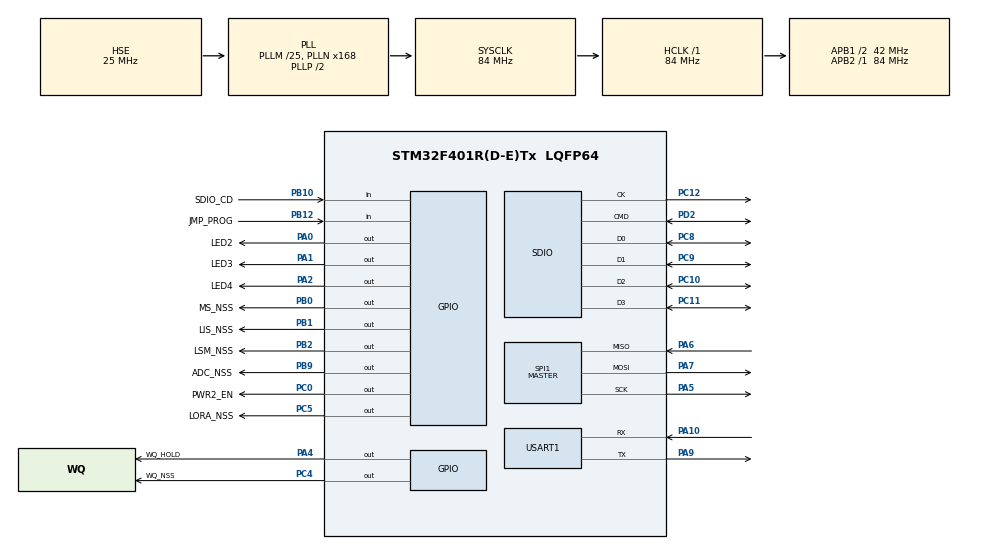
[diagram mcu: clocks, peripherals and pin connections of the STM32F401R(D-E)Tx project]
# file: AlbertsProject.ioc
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Mcu.Family=STM32F4
Mcu.Name=STM32F401R(D-E)Tx
Mcu.Package=LQFP64
NVIC.PriorityGroup=NVIC_PRIORITYGROUP_4
PA0-WKUP.GPIO_Label=LED2
PA0-WKUP.Signal=GPIO_Output
PA1.GPIO_Label=LED3
PA1.Signal=GPIO_Output
PA10.Mode=Asynchronous
PA10.Signal=USART1_RX
PA13.Mode=Serial_Wire
PA13.Signal=SYS_JTMS-SWDIO
PA14.Mode=Serial_Wire
PA14.Signal=SYS_JTCK-SWCLK
PA2.GPIO_Label=LED4
PA2.Signal=GPIO_Output
PA4.GPIO_Label=WQ_HOLD
PA4.PinState=GPIO_PIN_SET
PA4.Signal=GPIO_Output
PA5.Mode=Full_Duplex_Master
PA5.Signal=SPI1_SCK
PA6.Mode=Full_Duplex_Master
PA6.Signal=SPI1_MISO
PA7.Mode=Full_Duplex_Master
PA7.Signal=SPI1_MOSI
PA9.Mode=Asynchronous
PA9.Signal=USART1_TX
PB0.GPIO_Label=MS_NSS
PB0.PinState=GPIO_PIN_SET
PB0.Signal=GPIO_Output
PB1.GPIO_Label=LIS_NSS
PB1.PinState=GPIO_PIN_SET
PB1.Signal=GPIO_Output
PB10.GPIO_Label=SDIO_CD
PB10.Signal=GPIO_Input
PB12.GPIO_Label=JMP_PROG
PB12.Signal=GPIO_Input
PB2.GPIO_Label=LSM_NSS
PB2.PinState=GPIO_PIN_SET
PB2.Signal=GPIO_Output
PB9.GPIO_Label=ADC_NSS
PB9.PinState=GPIO_PIN_SET
PB9.Signal=GPIO_Output
PC0.GPIO_Label=PWR2_EN
PC0.PinState=GPIO_PIN_SET
PC0.Signal=GPIO_Output
PC10.Mode=SD_4_bits_Wide_bus
PC10.Signal=SDIO_D2
PC11.Mode=SD_4_bits_Wide_bus
PC11.Signal=SDIO_D3
PC12.Mode=SD_4_bits_Wide_bus
PC12.Signal=SDIO_CK
PC14-OSC32_IN.Mode=LSE-External-Oscillator
PC14-OSC32_IN.Signal=RCC_OSC32_IN
PC15-OSC32_OUT.Mode=LSE-External-Oscillator
PC15-OSC32_OUT.Signal=RCC_OSC32_OUT
PC4.GPIO_Label=WQ_NSS
PC4.PinState=GPIO_PIN_SET
PC4.Signal=GPIO_Output
PC5.GPIO_Label=LORA_NSS
PC5.PinState=GPIO_PIN_SET
PC5.Signal=GPIO_Output
PC8.Mode=SD_4_bits_Wide_bus
PC8.Signal=SDIO_D0
PC9.Mode=SD_4_bits_Wide_bus
PC9.Signal=SDIO_D1
PD2.Mode=SD_4_bits_Wide_bus
PD2.Signal=SDIO_CMD
PH0\ -\ OSC_IN.Mode=HSE-External-Oscillator
PH0\ -\ OSC_IN.Signal=RCC_OSC_IN
PH1\ -\ OSC_OUT.Mode=HSE-External-Oscillator
PH1\ -\ OSC_OUT.Signal=RCC_OSC_OUT
ProjectManager.HeapSize=0x200
ProjectManager.StackSize=0x400
ProjectManager.TargetToolchain=STM32CubeIDE
RCC.48MHZClocksFreq_Value=42000000
RCC.AHBFreq_Value=84000000
RCC.APB1CLKDivider=RCC_HCLK_DIV2
RCC.APB1Freq_Value=42000000
RCC.APB1TimFreq_Value=84000000
RCC.APB2Freq_Value=84000000
RCC.APB2TimFreq_Value=84000000
RCC.CortexFreq_Value=84000000
RCC.HCLKFreq_Value=84000000
RCC.HSE_VALUE=25000000
RCC.HSI_VALUE=16000000
RCC.PLLM=25
RCC.PLLN=168
RCC.PLLSourceVirtual=RCC_PLLSOURCE_HSE
RCC.SYSCLKFreq_VALUE=84000000
RCC.SYSCLKSource=RCC_SYSCLKSOURCE_PLLCLK
RCC.VCOOutputFreq_Value=168000000
SPI1.Direction=SPI_DIRECTION_2LINES
SPI1.Mode=SPI_MODE_MASTER
SPI1.VirtualType=VM_MASTER
USART1.VirtualMode=VM_ASYNC
VP_FATFS_VS_SDIO.Mode=SDIO
board=custom

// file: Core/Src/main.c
/* USER CODE BEGIN Header */
/**
 ******************************************************************************
 * @file           : main.c
 * @brief          : Main program body
 ******************************************************************************
 * @attention
 *
 * Copyright (c) 2024 STMicroelectronics.
 * All rights reserved.
 *
 * This software is licensed under terms that can be found in the LICENSE file
 * in the root directory of this software component.
 * If no LICENSE file comes with this software, it is provided AS-IS.
 *
 ******************************************************************************
 */
/* USER CODE END Header */
#include "main.h"
#include "fatfs.h"
#include "sdio.h"
#include "spi.h"
#include "usart.h"
#include "gpio.h"

/* USER CODE BEGIN Includes */
#include <stdio.h>
#include <stdbool.h>

#include "myLoRa.h"
#include "accelGyro.h"
#include "pressTemp.h"

//#include "usart.h"
/* USER CODE END Includes */

/* USER CODE BEGIN PD */
#define PACKET_SIZE sizeof(RadioData_t)

#define ROVERDATA_SIZE sizeof(RoverData_t)

/* USER CODE END PD */

/* USER CODE BEGIN PV */
uint32_t MS_Data[2];
int16_t LSM_Data[6];

int sizeOfBufferToLora = 100;
int32_t seaLvlPress;
int32_t beforAlt;
uint8_t toStart = 100;
uint32_t timeToSend = 0;
uint32_t timeToWrite = 0;
uint16_t roverFreq = 434; // !!!!!!!!---- YZNAT' CHASTOTY ----!!!!!!!!
const char filename[] = "SULOG.txt";

struct {
	uint32_t time;
	int32_t alt;
	int32_t press;
	int16_t temp;
	int16_t accel1;
	int16_t accel2;
	int16_t accel3;
	int16_t gyro1;
	int16_t gyro2;
	int16_t gyro3;
	bool flagStart;
	bool flagApag;
	bool flagLand;

} SensorsData;

#pragma pack(push, 1)
typedef struct {
	uint16_t start_of_packet; // 0xAAAA
	uint16_t team_id;
	uint32_t time;
	int16_t temperature;
	int32_t pressure;
	int16_t accelerometer_x;
	int16_t accelerometer_y;
	int16_t accelerometer_z;
	int16_t gyroscope_x;
	int16_t gyroscope_y;
	int16_t gyroscope_z;
	uint8_t checksum;

	uint8_t answer;
	uint16_t distanses[17];

} RadioData_t;
#pragma pack(pop)

#pragma pack(push, 1)
typedef struct {
	uint8_t start_of_the_pocket; // должен быть 0x13
	uint8_t answer;
	uint16_t distanses[17];
	uint8_t checksum; // XOR всех предыдущих байт
} RoverData_t;
#pragma pack(pop)

RoverData_t RoverData = { 0x13, 0, { 0, 0, 0, 0, 0, 0, 0, 0, 0, 0, 0, 0, 0, 0,
		0, 0, 0 }, 0, };

enum {
	START, FLY, LAND
} mode;

FATFS FatFs;
FIL Fil;
FRESULT FR_Status;
unsigned int bytes_written;

/* USER CODE END PV */

void SystemClock_Config(void);
/* USER CODE BEGIN PFP */
void cheakAll(void);
void initVariables(void);
void readData(void);
void writeData(void);
void recieveTransmitData(void);

void SvSend(uint8_t *data, int size);
void SvGet(uint8_t *data, int expected_len);
/* USER CODE END PFP */

int main(void)
{

  /* MCU Configuration--------------------------------------------------------*/

  /* Reset of all peripherals, Initializes the Flash interface and the Systick. */
  HAL_Init();

  /* Configure the system clock */
  SystemClock_Config();

  /* Initialize all configured peripherals */
  MX_GPIO_Init();
  MX_SPI1_Init();
  MX_SDIO_SD_Init();
  MX_USART1_UART_Init();
  MX_FATFS_Init();
  /* USER CODE BEGIN 2 */

	cheakAll();
	initVariables();

	HAL_UART_Transmit(&huart1, (uint8_t*) "b100", 4, 1000);
  /* USER CODE END 2 */

  /* Infinite loop */
  /* USER CODE BEGIN WHILE */

	while (1) {

		readData();

		writeData();

//		recieveTransmitData();

		HAL_GPIO_TogglePin(LED2_GPIO_Port, LED2_Pin);

//		SvSend((uint8_t*) "f100", 4);

		if (__HAL_UART_GET_FLAG(&huart1, UART_FLAG_RXNE)) {
//			HAL_GPIO_TogglePin(LED3_GPIO_Port, LED3_Pin);
//			HAL_Delay(500);
//			HAL_GPIO_TogglePin(LED3_GPIO_Port, LED3_Pin);

			SvGet((uint8_t*) &RoverData, ROVERDATA_SIZE);

		}

		uint8_t buffer[255];
		int recieved = 0; // = SvGet((uint8_t*) &RoverData);

		if (recieved) {
//
		}

		recieved = LORA_ReceiveData(buffer);

		if (recieved) {
			SvSend(buffer, recieved);
		}
    /* USER CODE END WHILE */

	}
}

void SystemClock_Config(void)
{
  RCC_OscInitTypeDef RCC_OscInitStruct = {0};
  RCC_ClkInitTypeDef RCC_ClkInitStruct = {0};

  /** Configure the main internal regulator output voltage
  */
  __HAL_RCC_PWR_CLK_ENABLE();
  __HAL_PWR_VOLTAGESCALING_CONFIG(PWR_REGULATOR_VOLTAGE_SCALE2);

  /** Initializes the RCC Oscillators according to the specified parameters
  * in the RCC_OscInitTypeDef structure.
  */
  RCC_OscInitStruct.OscillatorType = RCC_OSCILLATORTYPE_HSE;
  RCC_OscInitStruct.HSEState = RCC_HSE_ON;
  RCC_OscInitStruct.PLL.PLLState = RCC_PLL_ON;
  RCC_OscInitStruct.PLL.PLLSource = RCC_PLLSOURCE_HSE;
  RCC_OscInitStruct.PLL.PLLM = 25;
  RCC_OscInitStruct.PLL.PLLN = 168;
  RCC_OscInitStruct.PLL.PLLP = RCC_PLLP_DIV2;
  RCC_OscInitStruct.PLL.PLLQ = 4;
  if (HAL_RCC_OscConfig(&RCC_OscInitStruct) != HAL_OK)
  {
    Error_Handler();
  }

  /** Initializes the CPU, AHB and APB buses clocks
  */
  RCC_ClkInitStruct.ClockType = RCC_CLOCKTYPE_HCLK|RCC_CLOCKTYPE_SYSCLK
                              |RCC_CLOCKTYPE_PCLK1|RCC_CLOCKTYPE_PCLK2;
  RCC_ClkInitStruct.SYSCLKSource = RCC_SYSCLKSOURCE_PLLCLK;
  RCC_ClkInitStruct.AHBCLKDivider = RCC_SYSCLK_DIV1;
  RCC_ClkInitStruct.APB1CLKDivider = RCC_HCLK_DIV2;
  RCC_ClkInitStruct.APB2CLKDivider = RCC_HCLK_DIV1;

  if (HAL_RCC_ClockConfig(&RCC_ClkInitStruct, FLASH_LATENCY_2) != HAL_OK)
  {
    Error_Handler();
  }
}

/* USER CODE BEGIN 4 */

void writeSD_rData(RadioData_t str) {
	f_open(&Fil, filename, FA_OPEN_ALWAYS | FA_WRITE);
	f_lseek(&Fil, f_size(&Fil));
	HAL_Delay(5);

	// ПРАВИЛЬНО: передаём адрес структуры напрямую
	f_write(&Fil, &str, sizeof(RadioData_t), &bytes_written);

	HAL_Delay(15);
	f_close(&Fil);
}

void writeSD(char *str) {
	f_open(&Fil, filename, FA_OPEN_ALWAYS | FA_WRITE);

	f_lseek(&Fil, f_size(&Fil));
	HAL_Delay(5);
	f_puts(str, &Fil);
	HAL_Delay(15);
	f_close(&Fil);
}

void readData() {
	MS_ReadData(MS_Data);
	LSM_ReadData(LSM_Data);

	beforAlt = SensorsData.alt;

	SensorsData.time = HAL_GetTick();
	SensorsData.press = MS_Data[0];
	SensorsData.alt = (int32_t) 4433000
			* (1.0f - pow((float) SensorsData.press / seaLvlPress, 0.1903)); //(int32_t) ((SensorsData.press - seaLvlPress) / 133.32239023154 * 10.5 * 100);
	SensorsData.temp = MS_Data[1];
	SensorsData.accel1 = (int16_t) (LSM_Data[3] * 0.0488);
	SensorsData.accel2 = (int16_t) (LSM_Data[4] * 0.0488);
	SensorsData.accel3 = (int16_t) (LSM_Data[5] * 0.0488);
	SensorsData.gyro1 = LSM_Data[0] * 7;
	SensorsData.gyro2 = LSM_Data[1] * 7;
	SensorsData.gyro3 = LSM_Data[2] * 7;

	if (SensorsData.alt > toStart) {
		SensorsData.flagStart = true;
		mode = FLY;
	}
	if (SensorsData.alt == beforAlt && SensorsData.flagStart) {
		SensorsData.flagApag = true;
	}

	if ((SensorsData.alt < 200 || SensorsData.alt == beforAlt)
			&& SensorsData.flagApag) {
		SensorsData.flagLand = true;
		mode = LAND;
	}

}

void writeData() {

//	struct RadioData_t r;
	RadioData_t r_data = { 0xAAAA, 0xD8, HAL_GetTick(), SensorsData.temp,
			SensorsData.press, SensorsData.accel1, SensorsData.accel2,
			SensorsData.accel3, SensorsData.gyro1, SensorsData.gyro2,
			SensorsData.gyro3, 0, RoverData.answer, { RoverData.distanses[0],
					RoverData.distanses[1], RoverData.distanses[2],
					RoverData.distanses[3], RoverData.distanses[4],
					RoverData.distanses[5], RoverData.distanses[6],
					RoverData.distanses[7], RoverData.distanses[8],
					RoverData.distanses[9], RoverData.distanses[10],
					RoverData.distanses[11], RoverData.distanses[12],
					RoverData.distanses[13], RoverData.distanses[14],
					RoverData.distanses[15], RoverData.distanses[16] } };

	r_data.checksum = r_data.start_of_packet ^ r_data.team_id ^ r_data.time
			^ r_data.temperature ^ r_data.pressure ^ r_data.accelerometer_x
			^ r_data.accelerometer_y ^ r_data.accelerometer_z
			^ r_data.gyroscope_x ^ r_data.gyroscope_y ^ r_data.gyroscope_z;

	if (HAL_GetTick() - timeToWrite >= 50) {

//		char buffer[sizeOfBufferToLora];
//
//		snprintf(buffer, sizeOfBufferToLora,
//				"%s;%ld;%ld;%ld;%ld;%ld;%ld;%ld;%ld;%ld;%ld;%d;%d;%d;\n", "SU",
//				SensorsData.time, SensorsData.alt, SensorsData.press,
//				SensorsData.temp, SensorsData.accel1, SensorsData.accel2,
//				SensorsData.accel3, SensorsData.gyro1, SensorsData.gyro2,
//				SensorsData.gyro3, SensorsData.flagStart, SensorsData.flagApag,
//				SensorsData.flagLand);

		writeSD_rData(r_data);

		timeToWrite = HAL_GetTick();
	}

	if (HAL_GetTick() - timeToSend >= 1000) {

//		int cutPacketSize = sizeOfBufferToLora / 3;
//
//		char bufferToLoRa1[cutPacketSize];
//		char bufferToLoRa2[cutPacketSize];
//		char bufferToLoRa3[cutPacketSize];
//
//		int sizeOfSnprintf1 = snprintf(bufferToLoRa1, cutPacketSize,
//				"%s;%ld;%ld;", "SU", SensorsData.time, SensorsData.alt);
//		int sizeOfSnprintf2 = snprintf(bufferToLoRa2, cutPacketSize,
//				"%ld;%ld;%ld;%ld;", SensorsData.press, SensorsData.temp,
//				SensorsData.accel1, SensorsData.accel2);
//		int sizeOfSnprintf3 = snprintf(bufferToLoRa3, cutPacketSize,
//				"%ld;%d;%d;%d;", SensorsData.accel3, SensorsData.flagStart,
//				SensorsData.flagApag, SensorsData.flagLand);
//
//		LORA_TransmitData(bufferToLoRa1, sizeOfSnprintf1);
//		LORA_TransmitData(bufferToLoRa2, sizeOfSnprintf2);
//		LORA_TransmitData(bufferToLoRa3, sizeOfSnprintf3);

//		int sizeOfSnprintf = snprintf(bufferToLoRa, sizeOfBufferToLora,
//				"%s;%ld;%ld;%ld;%ld;%ld;%ld;%ld;%d;%d;%d;\n", "SU",
//				SensorsData.time, SensorsData.alt, SensorsData.press,
//				SensorsData.temp, SensorsData.accel1, SensorsData.accel2,
//				SensorsData.accel3, SensorsData.flagStart, SensorsData.flagApag,
//				SensorsData.flagLand);
		//
//		LORA_TransmitData(buffer, sizeOfSnprintf);

		LORA_TransmitData((uint8_t*) &r_data, 26);
		timeToSend = HAL_GetTick();
	}

}

void recieveTransmitData() {
	uint8_t recieveData[10];
	uint32_t size = LORA_ReceiveData(recieveData);
	if (size) {
//		char transmitData[10];
//		for (int i = 0; i < 10; i++) {
//			transmitData[i] = (char) recieveData[i];
//		}
		LORA_ChangeFreq(roverFreq);
		LORA_TransmitData(recieveData, 10);
		LORA_ChangeFreq(433);
		writeSD("transmit to rover\n");
	}

}

void cheakAll() {

	HAL_Delay(500);

	LED2_GPIO_Port->ODR |= LED2_Pin;
	LED3_GPIO_Port->ODR |= LED3_Pin;
	LED4_GPIO_Port->ODR |= LED4_Pin;

	HAL_Delay(500);

	LED2_GPIO_Port->ODR &= ~LED2_Pin;
	LED3_GPIO_Port->ODR &= ~LED3_Pin;
	LED4_GPIO_Port->ODR &= ~LED4_Pin;

	FR_Status = f_mount(&FatFs, SDPath, 1);

	if (FR_Status != FR_OK) {
		HAL_GPIO_TogglePin(LED3_GPIO_Port, LED3_Pin);
		HAL_Delay(300);
		HAL_GPIO_TogglePin(LED3_GPIO_Port, LED3_Pin);
		HAL_Delay(300);
		HAL_GPIO_TogglePin(LED3_GPIO_Port, LED3_Pin);
		HAL_Delay(300);
		HAL_GPIO_TogglePin(LED3_GPIO_Port, LED3_Pin);
		HAL_Delay(300);
		HAL_GPIO_TogglePin(LED3_GPIO_Port, LED3_Pin);
		HAL_Delay(300);
		HAL_GPIO_TogglePin(LED3_GPIO_Port, LED3_Pin);

	}

	f_unlink(filename);  // удаляет старый файл
	f_open(&Fil, filename, FA_CREATE_ALWAYS | FA_WRITE);
	f_close(&Fil);

//	writeSD("SD GOOD\n");

	if (LORA_Init(&hspi1, LORA_NSS_GPIO_Port, LORA_NSS_Pin)) {
		HAL_GPIO_TogglePin(LED3_GPIO_Port, LED3_Pin);
		HAL_Delay(1000);
		HAL_GPIO_TogglePin(LED3_GPIO_Port, LED3_Pin);
	} else {
//		writeSD("LoRa GOOD\n");
	}

	MS_Init(&hspi1, MS_NSS_GPIO_Port, MS_NSS_Pin);

	if (LSM_Init(&hspi1, LSM_NSS_GPIO_Port, LSM_NSS_Pin)) {
		HAL_GPIO_TogglePin(LED3_GPIO_Port, LED3_Pin);
		HAL_Delay(300);
		HAL_GPIO_TogglePin(LED3_GPIO_Port, LED3_Pin);
		HAL_Delay(300);
		HAL_GPIO_TogglePin(LED3_GPIO_Port, LED3_Pin);
		HAL_Delay(300);
		HAL_GPIO_TogglePin(LED3_GPIO_Port, LED3_Pin);
	} else {
//		writeSD("LSM GOOD\n");
	}

//	writeSD("Start LOOP\n");

//	writeSD("name;time;height;pressure;temperature;accel_x;accel_y;accel_z;gyro_x;gyro_y;gyro_z;flag_start;flag_apag;flag_land;\n");

}

void initVariables() {
	MS_ReadData(MS_Data);
	seaLvlPress = MS_Data[0];
	SensorsData.flagStart = false;
	SensorsData.flagApag = false;
	SensorsData.flagLand = false;
	mode = START;
}

void SvSend(uint8_t *data, int size) {
	HAL_UART_Transmit(&huart1, data, size, HAL_MAX_DELAY);
}
void SvGet(uint8_t *data, int expected_len) {
//	int count = 0;
//	uint32_t tick_start = HAL_GetTick();
//
//	while ((HAL_GetTick() - tick_start) < SV_TIMEOUT && count < expected_len) {
//		uint8_t byte;
//		if (HAL_UART_Receive(&huart1, &byte, 1, 10) == HAL_OK) {
//			data[count++] = byte;
//			tick_start = HAL_GetTick(); // сброс таймаута при успешном приёме байта
//		}
//	}

	HAL_UART_Receive(&huart1, (uint8_t*) &RoverData, ROVERDATA_SIZE, 1000);

//	return count;
}
/* USER CODE END 4 */

void Error_Handler(void)
{
	__disable_irq();
	while (1) {
	}
}
